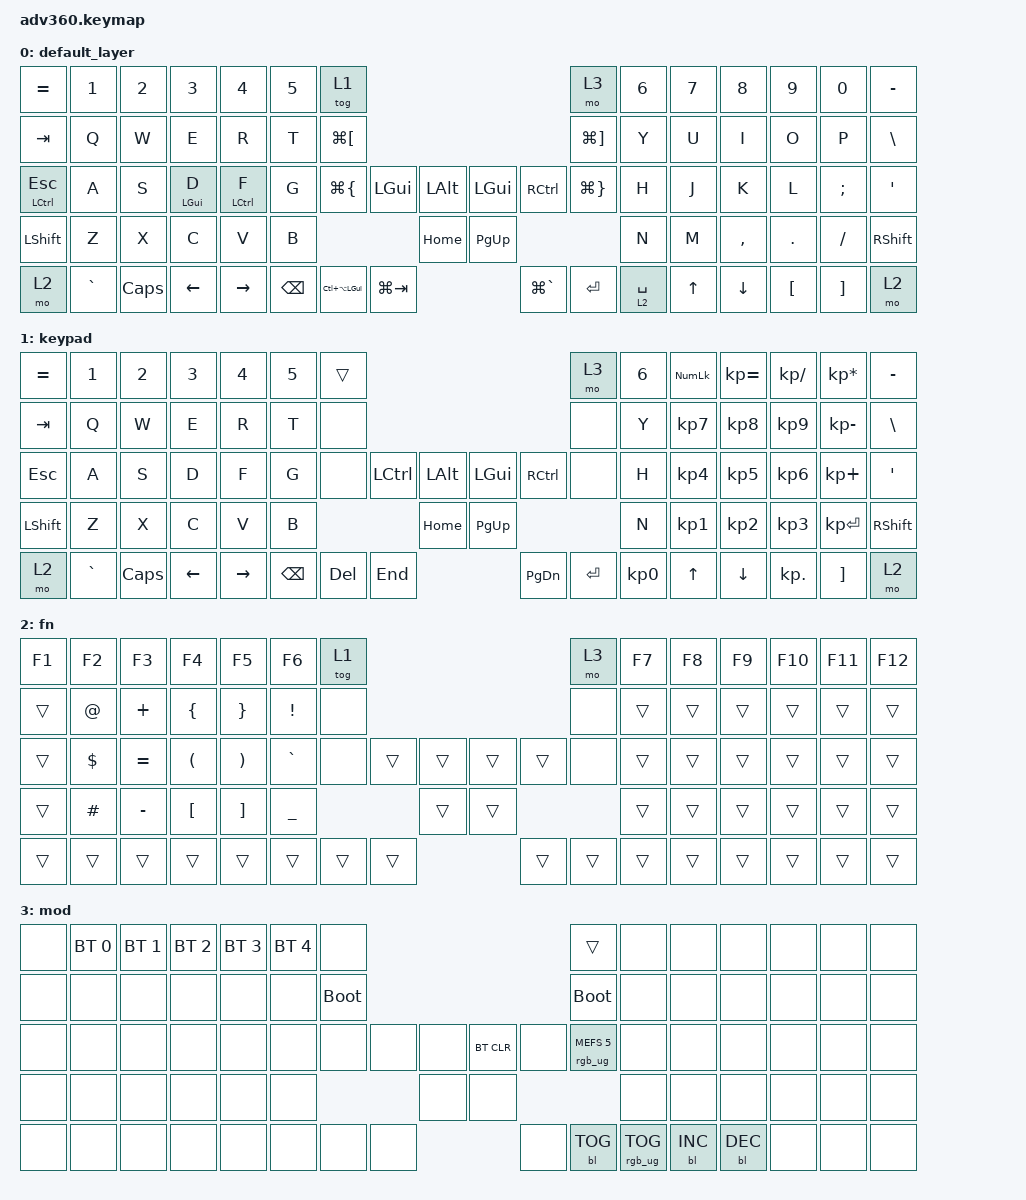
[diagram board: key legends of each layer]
#include <behaviors.dtsi>
#include <dt-bindings/zmk/keys.h>
#include <dt-bindings/zmk/bt.h>
#include <dt-bindings/zmk/rgb.h>
#include <dt-bindings/zmk/backlight.h>

#define HYP      LC(LA(LGUI))
// Tab nav
#define T_N   LG(RBRC)
#define T_P   LG(LBRC)
// History nav
#define H_N   LG(RBKT)
#define H_P   LG(LBKT)
// App nav
// TODO: this is a hack to allow a single command+tab. Making it sticky is complex and out of scope right now...
#define A_P   LG(TAB)
// Window nav
// TODO: this is a hack to allow a single command+grave. Making it sticky is complex and out of scope right now...
#define W_P   LG(GRAVE)

/ {
    behaviors {
      #include "macros.dtsi"

      hm: homerow_mods {
          compatible = "zmk,behavior-hold-tap";
          label = "HOMEROW_MODS";
          #binding-cells = <2>;
          tapping-term-ms = <150>;
          quick_tap_ms = <200>;
          flavor = "tap-unless-interrupted";
          bindings = <&kp>, <&kp>;
          hold-trigger-key-positions = <22 23 24 25 26 27 40 41 42 43 44 45 54 55 56 57 58 59 71 72 73 74 75>;    // <---[[right-hand keys]]
      };
    };

  keymap {
    compatible = "zmk,keymap";

    default_layer {
      bindings = <
        &kp EQUAL     &kp N1    &kp N2   &kp N3     &kp N4     &kp N5 &tog 1                                                           &mo 3   &kp N6 &kp N7 &kp N8    &kp N9   &kp N0   &kp MINUS
        &kp TAB       &kp Q     &kp W    &kp E      &kp R      &kp T  &kp H_P                                                          &kp H_N &kp Y  &kp U  &kp I     &kp O    &kp P    &kp BSLH
        &mt LCTRL ESC &kp A     &kp S    &hm LGUI D &hm LCTL F &kp G  &kp T_P         &kp LGUI  &kp LALT &kp LGUI  &kp RCTRL           &kp T_N &kp H  &kp J  &kp K     &kp L    &kp SEMI &kp SQT
        &kp LSHFT     &kp Z     &kp X    &kp C      &kp V      &kp B                            &kp HOME &kp PG_UP                             &kp N  &kp M  &kp COMMA &kp DOT  &kp FSLH &kp RSHFT
        &mo 2         &kp GRAVE &kp CAPS &kp LEFT   &kp RIGHT                &kp BSPC &kp HYP   &kp A_P  &kp W_P   &kp ENTER &lt 2 SPACE              &kp UP &kp DOWN  &kp LBKT &kp RBKT &mo 2
      >;
    };
    keypad {
      bindings = <
        &kp EQUAL &kp N1    &kp N2   &kp N3   &kp N4     &kp N5 &trans                                                           &mo 3 &kp N6 &kp KP_NUM &kp KP_EQUAL &kp KP_DIVIDE &kp KP_MULTIPLY &kp MINUS
        &kp TAB   &kp Q     &kp W    &kp E    &kp R      &kp T  &none                                                            &none &kp Y  &kp KP_N7  &kp KP_N8    &kp KP_N9     &kp KP_MINUS    &kp BSLH
        &kp ESC   &kp A     &kp S    &kp D    &kp F      &kp G  &none           &kp LCTRL &kp LALT &kp LGUI  &kp RCTRL           &none &kp H  &kp KP_N4  &kp KP_N5    &kp KP_N6     &kp KP_PLUS     &kp SQT
        &kp LSHFT &kp Z     &kp X    &kp C    &kp V      &kp B                            &kp HOME &kp PG_UP                           &kp N  &kp KP_N1  &kp KP_N2    &kp KP_N3     &kp KP_ENTER    &kp RSHFT
        &mo 2     &kp GRAVE &kp CAPS &kp LEFT &kp RIGHT                &kp BSPC &kp DEL   &kp END  &kp PG_DN &kp ENTER &kp KP_N0              &kp UP     &kp DOWN     &kp KP_DOT    &kp RBKT        &mo 2
      >;
    };
    fn {
      bindings = <
        &kp F1 &kp F2     &kp F3    &kp F4   &kp F5   &kp F6     &tog 1                                          &mo 3 &kp F7 &kp F8 &kp F9 &kp F10 &kp F11 &kp F12
        &trans &kp AT     &kp PLUS  &kp LBRC &kp RBRC &kp EXCL   &none                                           &none &trans &trans &trans &trans  &trans  &trans
        &trans &kp DOLLAR &kp EQUAL &kp LPAR &kp RPAR &kp GRAVE  &none        &trans &trans &trans &trans        &none &trans &trans &trans &trans  &trans  &trans
        &trans &kp HASH   &kp MINUS &kp LBKT &kp RBKT &kp UNDER                      &trans &trans                     &trans &trans &trans &trans  &trans  &trans
        &trans &trans     &trans    &trans   &trans                    &trans &trans &trans &trans &trans &trans              &trans &trans &trans  &trans  &trans
      >;
    };
    mod {
      bindings = <
        &none &bt BT_SEL 0 &bt BT_SEL 1 &bt BT_SEL 2 &bt BT_SEL 3 &bt BT_SEL 4 &none                                                                     &trans                 &none        &none        &none        &none &none &none
        &none &none        &none        &none        &none        &none        &bootloader                                                               &bootloader            &none        &none        &none        &none &none &none
        &none &none        &none        &none        &none        &none        &none                   &none &none &bt BT_CLR &none                      &rgb_ug RGB_MEFS_CMD 5 &none        &none        &none        &none &none &none
        &none &none        &none        &none        &none        &none                                      &none &none                                                        &none        &none        &none        &none &none &none
        &none &none        &none        &none        &none                                       &none &none &none &none      &bl BL_TOG &rgb_ug RGB_TOG                                     &bl BL_INC   &bl BL_DEC   &none &none &none
      >;
    };
  };
};
